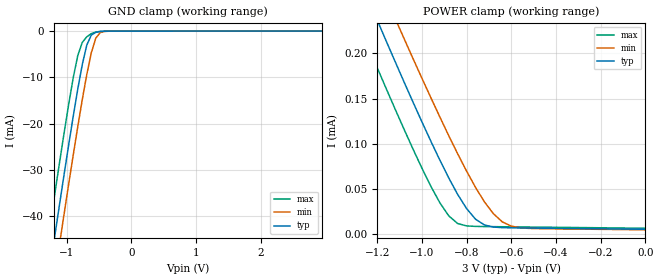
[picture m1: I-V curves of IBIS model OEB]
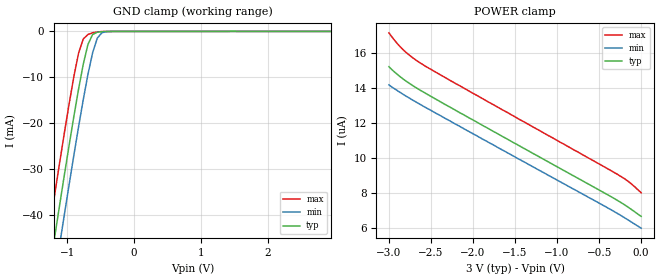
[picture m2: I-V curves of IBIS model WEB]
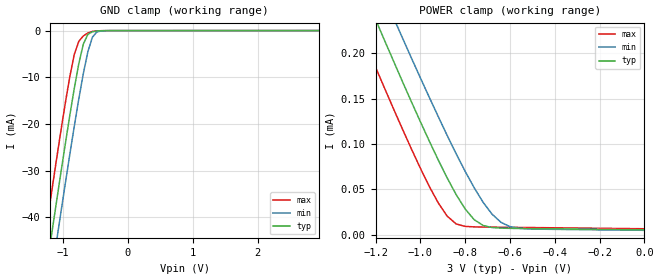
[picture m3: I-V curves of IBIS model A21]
| IBIS file s29gl512p.ibs created by s2ibis3 verion 1.1
| North Carolina State University, ERL, 2006
[IBIS ver] 3.2
[File name] s29gl512p.ibs
[File Rev] 1.0
[Date]  07/03/07
[Source] SPANSION PENANG DESIGN VERIFICATION TEAM
[Notes]  Generated IBIS models from SPICE simulations.
[Disclaimer] THE MODEL LIBRARIES ARE PROVIDED AS IS.
[Copyright] (C) COPYRIGHT 2007
|   Component S29GL512P in TS056 package
[Component] S29GL512P
[Manufacturer] SPANSION LLC
[Package] |TS056
| variable   typ   min   max
R_pkg   0.0   0.0   0.0
L_pkg   0.0H   0.0H   0.0H
C_pkg   0.0F   0.0F   0.0F
[Pin]  signal_name   model_name   R_pin   L_pin   C_pin
1   A23   A23   192.55m   4.4695nH   0.44163pF
2   A22   A22   183.43m   4.2892nH   0.5611pF
3   A15   A15   175.21m   4.19nH   0.58021pF
4   A14   A14   168.15m   4.0946nH   0.55215pF
5   A13   A13   170.94m   4.1271nH   0.54215pF
6   A12   A12   163.87m   3.9846nH   0.5259pF
7   A11   A11   158.35m   3.7789nH   0.50228pF
8   A10   A10   153.8m   3.7851nH   0.46866pF
9   A9   A9   155.17m   3.7904nH   0.4884pF
10   A8   A8   151.36m   3.7402nH   0.45441pF
11   A19   A19   148.9m   3.6732nH   0.43331pF
12   A20   A20   148.24m   3.6591nH   0.43131pF
13   WE#   WEB   148.46m   3.6819nH   0.4308pF
14   RESET#   RESETB   156.45m   3.7915nH   0.43261pF
15   A21   A21   152.66m   3.6961nH   0.49741pF
16   WP#/ACC   WPESD_ACC   150.01m   3.6421nH   0.50741pF
17   RY/BY#   RDY   148.83m   3.6892nH   0.43327pF
18   A18   A18   149.69m   3.7071nH   0.43171pF
19   A17   A17   148.32m   3.6839nH   0.43473pF
20   A7   A7   149.01m   3.703nH   0.41949pF
21   A6   A6   150.82m   3.7547nH   0.44526pF
22   A5   A5   154.07m   3.7714nH   0.44994pF
23   A4   A4   153.12m   3.7325nH   0.43034pF
24   A3   A3   157.63m   3.8718nH   0.44643pF
25   A2   A2   163.27m   3.9538nH   0.4849pF
26   A1   A1   169.8m   4.0473nH   0.47475pF
27   RFU   NC
28   RFU   NC
29   VIO   POWER   63.171m   4.8253nH   2.042pF
30   RFU   NC   183.38m   4.2559nH   0.52726pF
31   A0   A0   176.6m   4.1304nH   0.60496pF
32   CE#   CEB   171.15m   4.0626nH   0.57447pF
33   VSS   GND   95.433m   3.6521nH   0.61463pF
34   OE#   OEB   179.69m   4.1661nH   0.48609pF
35   DQ0   DQ0   176.2m   4.144nH   0.48072pF
36   DQ8   DQ8   173.73m   4.0239nH   0.48453pF
37   DQ1   DQ1   169.65m   3.951nH   0.48827pF
38   DQ9   DQ9   165.67m   3.9258nH   0.41825pF
39   DQ2   DQ2   158.83m   3.8391nH   0.50217pF
40   DQ10   DQ10   154.82m   3.7629nH   0.54607pF
41   DQ3   DQ3   151.77m   3.7091nH   0.56406pF
42   DQ11   DQ11   149.17m   3.6759nH   0.55136pF
43   VCC   POWER   83.675m   3.2553nH   0.64477pF
44   DQ4   DQ4   148.17m   3.6373nH   0.49602pF
45   DQ12   DQ12   148.08m   3.6532nH   0.47333pF
46   DQ5   DQ5   149.07m   3.6736nH   0.50271pF
47   DQ13   DQ13   151.29m   3.7584nH   0.51095pF
48   DQ6   DQ6   156.89m   3.8246nH   0.40651pF
49   DQ14   DQ14   160.74m   3.896nH   0.47209pF
50   DQ7   DQ7   164.08m   3.9108nH   0.52661pF
51   DQ15/A-1   DQ15   167.6m   4.0389nH   0.5696pF
52   VSS   GND   96.741m   3.6687nH   0.61716pF
53   BYTE#   BYTEB   177.06m   4.1794nH   0.54518pF
54   A16   A16   185.43m   4.2988nH   0.57871pF
55   RFU   NC
56   A24   A24   192.2m   4.4774nH   0.44939pF
| Models and submodels in the file (48): BYTEB (Input), OEB (Input), CEB (Input), WPESD_ACC (Input), RESETB (Input), WEB (Input), A24 (Input), A23 (Input), A22 (Input), A21 (Input), A20 (Input), A19 (Input), A18 (Input), A17 (Input), A16 (Input), A15 (Input), A14 (Input), A13 (Input), A12 (Input), A11 (Input), A10 (Input), A9 (Input), A8 (Input), A7 (Input), A6 (Input), A5 (Input), A4 (Input), A3 (Input), A2 (Input), A1 (Input), A0 (Input), DQ15 (I/O), DQ14 (I/O), DQ13 (I/O), DQ12 (I/O), DQ11 (I/O), DQ10 (I/O), DQ9 (I/O), DQ8 (I/O), DQ7 (I/O), DQ6 (I/O), DQ5 (I/O), DQ4 (I/O), DQ3 (I/O), DQ2 (I/O), DQ1 (I/O), DQ0 (I/O), RDY (Open_sink)
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|   Model OEB
[Model]  OEB
Model_type Input
Vinl =   0.9000V
Vinh =   2.1000V
C_comp   2.0000pF   2.0000pF   2.0000pF
[Temperature Range]   25.0000   85.0000   -40.0000
[Pullup Reference]   3.0000V   2.7000V   3.6000V
[Pulldown Reference]   0.0V   0.0V   0.0V
[POWER Clamp Reference]   3.0000V   2.7000V   3.6000V
[GND Clamp Reference]   0.0V   0.0V   0.0V
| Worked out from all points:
|   GND clamp passes 1 mA (typ) near -0.62 V on its own axis
|   POWER clamp passes 1 mA (typ) near -2.48 V on its own axis
[GND_clamp]
|Voltage   I(typ)   I(min)   I(max)
-3V       -219.5mA   -227.7mA   -210.8mA
-1.32V    -56.93mA   -65.51mA   -47.83mA
-1.25V    -50.34mA   -58.92mA   -41.23mA
-1.18V    -43.78mA   -52.37mA   -34.7mA
-1.11V    -37.29mA   -45.86mA   -28.25mA
-1.04V    -30.87mA   -39.42mA   -21.92mA
-830mV    -12.57mA   -20.68mA   -5.3mA
-690mV    -3.01mA    -9.365mA   -1.226mA
-620mV    -852.3uA   -4.675mA   -543.9uA
-550mV    -265uA     -1.496mA   -195.5uA
-410mV    -34.56uA   -65.1uA    -20.58uA
2.95V     5.572uA    5.788uA    5.15uA
[POWER_clamp]
|Voltage   I(typ)   I(min)   I(max)
-3V       1.316mA    1.341mA    1.27mA
-1.28V    283.2uA    329.3uA    230.8uA
-1.2V     236.9uA    283.9uA    184.3uA
-1.16V    213.9uA    261.3uA    161.4uA
-1.12V    191.2uA    238.9uA    138.7uA
-1.08V    168.6uA    216.6uA    116.4uA
-960mV    103.1uA    151.2uA    53.26uA
-880mV    62.54uA    109.2uA    20.58uA
-760mV    16.85uA    51.99uA    8.889uA
-640mV    7.518uA    13.85uA    8.504uA
-520mV    7.055uA    6.7uA      8.192uA
0V        5.702uA    5.138uA    6.84uA
|   Model WEB
[Model]  WEB
Model_type Input
Vinl =   0.9000V
Vinh =   2.1000V
C_comp   2.0000pF   2.0000pF   2.0000pF
[Temperature Range]   25.0000   85.0000   -40.0000
[Pullup Reference]   3.0000V   2.7000V   3.6000V
[Pulldown Reference]   0.0V   0.0V   0.0V
[POWER Clamp Reference]   3.0000V   2.7000V   3.6000V
[GND Clamp Reference]   0.0V   0.0V   0.0V
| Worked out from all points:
|   GND clamp passes 1 mA (typ) near -0.63 V on its own axis
[GND_clamp]
|Voltage   I(typ)   I(min)   I(max)
-3V       -221.4mA   -229.7mA   -212.6mA
-1.32V    -57.37mA   -66.03mA   -48.14mA
-1.25V    -50.72mA   -59.38mA   -41.47mA
-1.18V    -44.1mA    -52.77mA   -34.86mA
-1.11V    -37.55mA   -46.21mA   -28.33mA
-1.04V    -31.07mA   -39.7mA    -21.91mA
-830mV    -12.58mA   -20.8mA    -4.75mA
-760mV    -7.168mA   -14.89mA   -1.651mA
-690mV    -2.86mA    -9.392mA   -680uA
-550mV    -166.7uA   -1.469mA   -102.6uA
-410mV    -19.93uA   -51.54uA   -10.22uA
2.95V     6.519uA    6.751uA    6.321uA
[POWER_clamp]
|Voltage   I(typ)   I(min)   I(max)
-3V       15.22uA    14.18uA    17.15uA
-2.92V    14.86uA    13.92uA    16.65uA
-2.84V    14.55uA    13.67uA    16.23uA
-2.76V    14.28uA    13.44uA    15.89uA
-2.64V    13.91uA    13.1uA     15.47uA
-2.2V     12.71uA    11.92uA    14.24uA
-280mV    7.581uA    6.837uA    9.068uA
-160mV    7.217uA    6.486uA    8.696uA
0V        6.676uA    6.002uA    8.028uA
|   Model A21
[Model]  A21
Model_type Input
Vinl =   0.9000V
Vinh =   2.1000V
C_comp   2.0000pF   2.0000pF   2.0000pF
[Temperature Range]   25.0000   85.0000   -40.0000
[Pullup Reference]   3.0000V   2.7000V   3.6000V
[Pulldown Reference]   0.0V   0.0V   0.0V
[POWER Clamp Reference]   3.0000V   2.7000V   3.6000V
[GND Clamp Reference]   0.0V   0.0V   0.0V
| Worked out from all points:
|   GND clamp passes 1 mA (typ) near -0.63 V on its own axis
|   POWER clamp passes 1 mA (typ) near -2.48 V on its own axis
[GND_clamp]
|Voltage   I(typ)   I(min)   I(max)
-3V       -219.9mA   -228.1mA   -211.2mA
-1.32V    -56.91mA   -65.48mA   -47.81mA
-1.25V    -50.29mA   -58.87mA   -41.19mA
-1.18V    -43.72mA   -52.3mA    -34.64mA
-1.11V    -37.21mA   -45.78mA   -28.17mA
-1.04V    -30.78mA   -39.32mA   -21.82mA
-830mV    -12.44mA   -20.54mA   -5.14mA
-690mV    -2.902mA   -9.222mA   -1.141mA
-620mV    -798.9uA   -4.551mA   -504uA
-550mV    -245.4uA   -1.426mA   -180.7uA
-410mV    -32.07uA   -60.5uA    -19.22uA
2.95V     5.571uA    5.787uA    5.15uA
[POWER_clamp]
|Voltage   I(typ)   I(min)   I(max)
-3V       1.316mA    1.341mA    1.27mA
-1.28V    283.2uA    329.3uA    230.8uA
-1.2V     236.9uA    283.9uA    184.3uA
-1.16V    213.9uA    261.3uA    161.4uA
-1.12V    191.2uA    238.9uA    138.7uA
-1.08V    168.6uA    216.6uA    116.4uA
-960mV    103.1uA    151.2uA    53.26uA
-880mV    62.54uA    109.2uA    20.58uA
-760mV    16.85uA    51.99uA    8.889uA
-640mV    7.518uA    13.85uA    8.504uA
-520mV    7.055uA    6.7uA      8.192uA
0V        5.701uA    5.137uA    6.84uA
